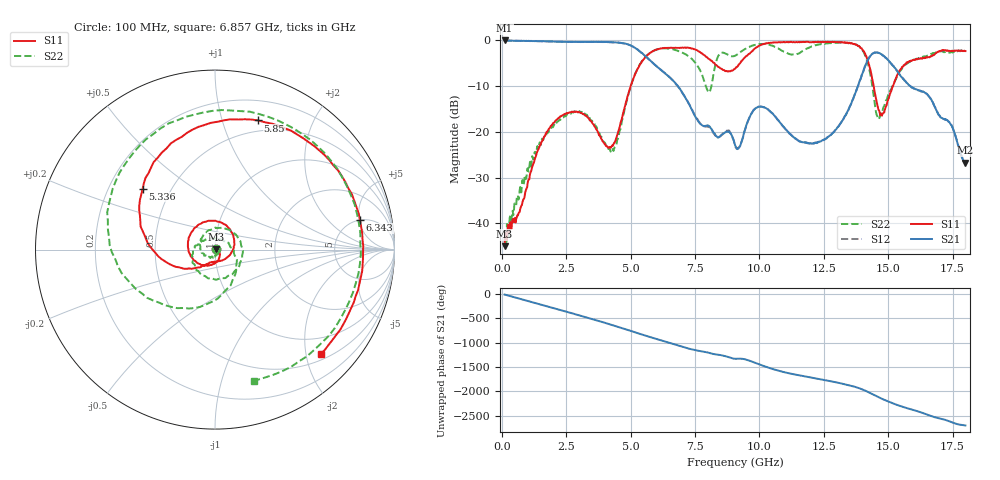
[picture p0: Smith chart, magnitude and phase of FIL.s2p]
!Keysight Technologies N9917A: A.08.15
!Date: Friday, 27 October 2017 10:01:24
!Timezone: (GMT-08:00) Pacific Time (US & Canada)
!Model: N9917A
!Serial: MY53102735
!GPS Latitude:
!GPS Longitude:
!GPS TimeStamp: 0001-01-01 00:00:00Z
!GPS Seconds Since Last Read: 0
!CHECKSUM:1210729977
!Correction: S11(ON U)S21(ON U)S12(ON U)S22(ON U)
!S2P File: Measurements:S11,S21,S12,S22:
# Hz S DB R 50
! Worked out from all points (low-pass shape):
!   801 points, 100 MHz to 18 GHz, reference 50 ohm
!   highest |S21| = -0.04 dB at 100 MHz (marker M1); lowest = -26.7 dB at 18 GHz (marker M2)
!   |S21| within 3 dB of the highest: start of sweep to 5.485 GHz; 14.37 GHz to 14.73 GHz (367.5 MHz wide, 2.53 % of centre)
!   lowest |S11| = -45.0 dB at 100 MHz (marker M3), VSWR 1.01, Z = 50.5 + j0.228 ohm
!   |S11| at or under -10 dB: start of sweep to 4.996 GHz; 14.43 GHz to 15.18 GHz (748.5 MHz wide, 5.05 % of centre)
!   |S22| runs from -44.1 to -0.5 dB; largest |S21 - S12| = 0.0076
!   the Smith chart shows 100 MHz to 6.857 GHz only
!   S11 on the Smith chart (normalised r, x): 100 MHz: 1.01, +0.00; 5.336 GHz: 0.35, +0.33; 5.85 GHz: 0.39, +1.31; 6.343 GHz: 4.95, +5.14; 6.857 GHz: 0.62, -2.29
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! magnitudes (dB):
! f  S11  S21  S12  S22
! 100 MHz  -45.0  0.0  0.0  -44.0
! 1.733 GHz  -20.1  -0.3  -0.3  -20.3
! 3.098 GHz  -15.9  -0.4  -0.4  -15.6
! 4.306 GHz  -23.0  -0.4  -0.4  -23.9
! 5.336 GHz  -5.6  -2.4  -2.4  -5.4
! 5.85 GHz  -2.4  -4.9  -4.9  -2.4
! 6.074 GHz  -1.9  -6.0  -6.0  -1.9
! 6.343 GHz  -1.7  -7.3  -7.3  -1.7
! 6.857 GHz  -1.6  -10.2  -10.3  -2.3
! 8.021 GHz  -4.0  -18.7  -19.0  -11.4
! 8.446 GHz  -5.9  -21.1  -21.1  -3.1
! 9.05 GHz  -6.2  -22.9  -23.0  -3.4
! 10.03 GHz  -1.1  -14.5  -14.5  -0.8
! 12.05 GHz  -0.4  -22.6  -22.5  -1.3
! 13.06 GHz  -0.4  -18.9  -18.9  -0.5
! 13.88 GHz  -1.3  -9.0  -9.0  -1.4
! 14.22 GHz  -4.6  -4.2  -4.2  -5.2
! 14.6 GHz  -14.6  -2.7  -2.7  -17.0
! 15.02 GHz  -12.7  -4.5  -4.5  -11.8
! 15.78 GHz  -4.8  -9.7  -9.7  -4.9
! 17.42 GHz  -2.3  -18.3  -18.3  -2.7
! 18 GHz  -2.4  -26.7  -27.1  -2.4
